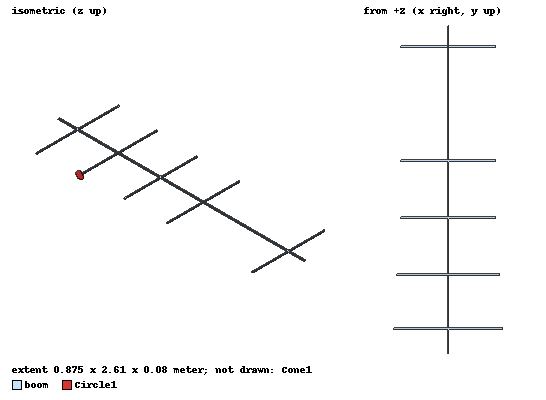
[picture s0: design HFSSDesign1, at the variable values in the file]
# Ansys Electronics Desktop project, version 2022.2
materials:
  vacuum: permittivity=1
  aluminum: permeability=1.000021 conductivity=38000000

design HFSSDesign1 (HFSS, DrivenTerminal, model units meter)
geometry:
  boom [vacuum] = cylinder(axis=Y, base_centre=(0meter, 0meter, 0meter), radius=0.0076meter, height=2.61meter)
  reflector = cylinder(axis=X, base_centre=(-0.4375meter, 0.2meter, 0meter), radius=0.0076meter, height=0.875meter)
  diople = cylinder(axis=X, base_centre=(-0.408meter, 0.63meter, 0meter), radius=0.0076meter, height=0.8163meter)
  dir1 = cylinder(axis=X, base_centre=(-0.3819meter, 1.0825meter, 0meter), radius=0.0076meter, height=0.7638meter)
  dir2 = cylinder(axis=X, base_centre=(-0.3819meter, 1.535meter, 0meter), radius=0.0076meter, height=0.7638meter)
  dir4 = cylinder(axis=X, base_centre=(-0.3819meter, 2.44meter, 0meter), radius=0.0076meter, height=0.7638meter)
  boom.unite(diople, dir1, dir2, dir4, reflector)
  Cone1 [vacuum] = cone(axis=Y, base_centre=(0meter, -0.4525meter, 0meter), bottom_radius=1meter, top_radius=2meter, height=5.062meter)
  Circle1 = circle(normal=X, centre=(0.4083meter, 0.63meter, 0meter), radius=0.04meter)
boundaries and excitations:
  Rad1: Radiation Objects=Cone1
  Circle1_T1: Terminal port=1 Objects=Circle1 TerminalResistance=50ohm
  1: Lumped Port Faces=Circle1.face Impedance=50ohm
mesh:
  initial mesh: GlobalSurfApproximation{CurvedSurfaceApproxChoice=UseSlider SliderMeshSettings=1}
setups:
  Setup1: HfssDriven Frequency=165MHz MaxDeltaS=0.02 MaximumPasses=15 MinimumPasses=1 MinimumConvergedPasses=1 PercentRefinement=30 BasisOrder=1 PortAccuracy=2 DrivenSolverType="Direct Solver"
    sweep Sweep: 100MHz to 200MHz step 0.1GHz; Type=Fast SaveFields
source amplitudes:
  1:1: 1 0
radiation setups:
  Infinite Sphere1: Infinite Sphere Theta=0deg..180deg step 10deg Phi=0deg..360deg step 10deg
